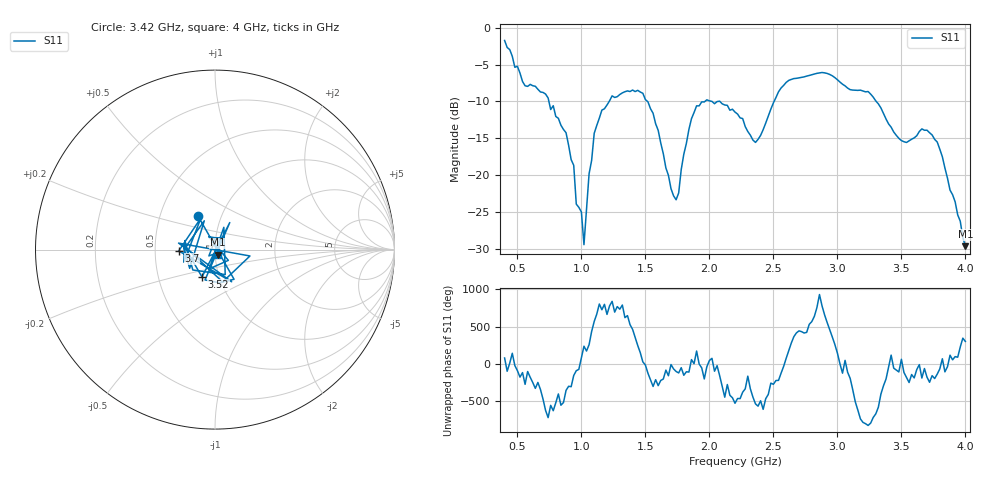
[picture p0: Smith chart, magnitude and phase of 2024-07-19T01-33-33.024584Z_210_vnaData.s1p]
!Created with skrf (http://scikit-rf.org).
# Hz S RI R 50.0
!freq ReS11 ImS11
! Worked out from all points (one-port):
!   181 points, 400 MHz to 4 GHz, reference 50 ohm
!   lowest |S11| = -29.6 dB at 4 GHz (marker M1), VSWR 1.07, Z = 51.6 - j2.97 ohm
!   |S11| at or under -10 dB: 746 MHz to 1.217 GHz (471.1 MHz wide, 48 % of centre); 1.516 GHz to 1.965 GHz (448.2 MHz wide, 25.8 % of centre); 3.304 GHz to end of sweep (the widest 3 of 5)
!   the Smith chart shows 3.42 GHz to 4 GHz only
!   S11 on the Smith chart (normalised r, x): 3.42 GHz: 0.77, +0.31; 3.52 GHz: 0.83, -0.26; 3.7 GHz: 0.66, -0.01; 4 GHz: 1.03, -0.06
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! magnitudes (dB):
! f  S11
! 400 MHz  -1.7
! 560 MHz  -7.9
! 720 MHz  -9.0
! 860 MHz  -13.8
! 940 MHz  -18.7
! 960 MHz  -23.9
! 1 GHz  -25.0
! 1.02 GHz  -29.4
! 1.06 GHz  -19.8
! 1.1 GHz  -14.3
! 1.3 GHz  -9.1
! 1.48 GHz  -8.9
! 1.56 GHz  -11.6
! 1.72 GHz  -22.8
! 1.76 GHz  -22.4
! 1.8 GHz  -17.1
! 1.9 GHz  -10.6
! 2.2 GHz  -11.4
! 2.36 GHz  -15.5
! 2.66 GHz  -6.9
! 3.1 GHz  -8.4
! 3.24 GHz  -8.7
! 3.42 GHz  -13.5
! 3.52 GHz  -15.5
! 3.56 GHz  -15.3
! 3.7 GHz  -13.9
! 3.82 GHz  -17.5
! 4 GHz  -29.6
